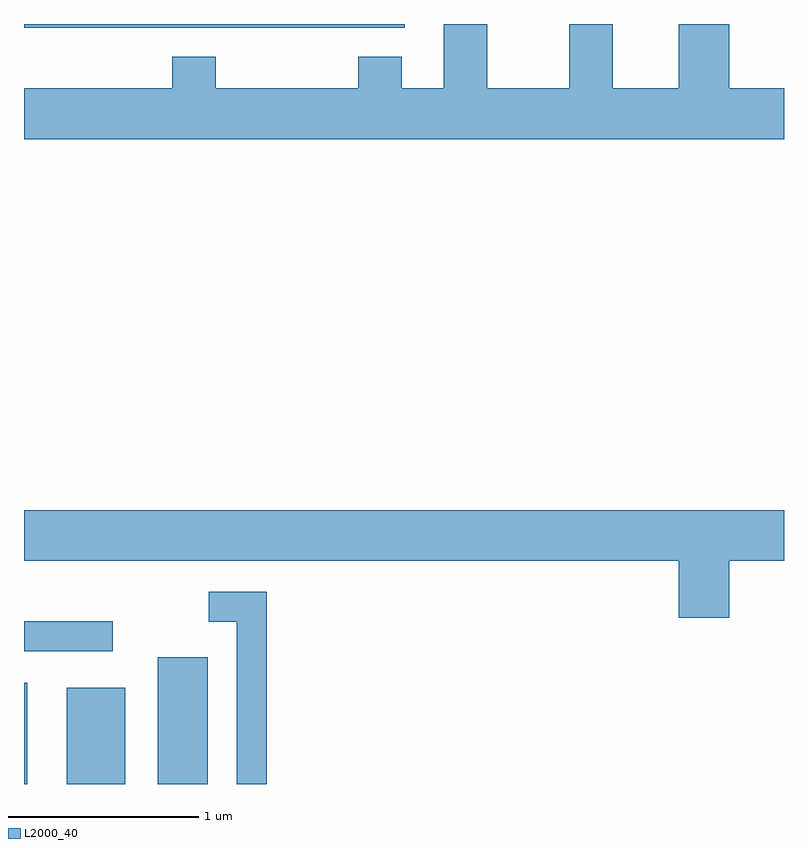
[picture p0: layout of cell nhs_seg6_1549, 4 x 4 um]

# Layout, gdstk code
import gdstk
lib = gdstk.Library(unit=1e-6, precision=1e-09)
def R(c, l, rs):  # rectangles x0, y0, x1, y1
    for r in rs: c.add(gdstk.rectangle(r[:2], r[2:], *l))
def P(c, l, *ps):  # polygons
    for p in ps: c.add(gdstk.Polygon(p, *l))
L2000_40 = (2000, 40)

nhs_seg6_1549 = lib.new_cell('nhs_seg6_1549')
R(nhs_seg6_1549, L2000_40, [(231.611,1582.162,231.629,1582.694), (231.836,1582.162,232.144,1582.669), (232.316,1582.162,232.579,1582.829), (231.611,1582.861,232.078,1583.019), (231.611,1586.141,233.614,1586.162)])
P(nhs_seg6_1549, L2000_40, [(235.611,1585.824),(235.324,1585.824),(235.324,1586.162),(235.056,1586.162),(235.056,1585.824),(234.709,1585.824),(234.709,1586.162),(234.481,1586.162),(234.481,1585.824),(234.049,1585.824),(234.049,1586.162),(233.821,1586.162),(233.821,1585.824),(233.599,1585.824),(233.599,1585.989),(233.371,1585.989),(233.371,1585.824),(232.619,1585.824),(232.619,1585.989),(232.391,1585.989),(232.391,1585.824),(231.611,1585.824),(231.611,1585.556),(235.611,1585.556)],
  [(235.324,1583.336),(235.611,1583.336),(235.611,1583.604),(231.611,1583.604),(231.611,1583.336),(235.056,1583.336),(235.056,1583.036),(235.324,1583.036)],
  [(232.889,1583.174),(232.583,1583.174),(232.583,1583.016),(232.731,1583.016),(232.731,1582.162),(232.889,1582.162)])

lib.write_gds('nhs_seg6_1549.gds')
